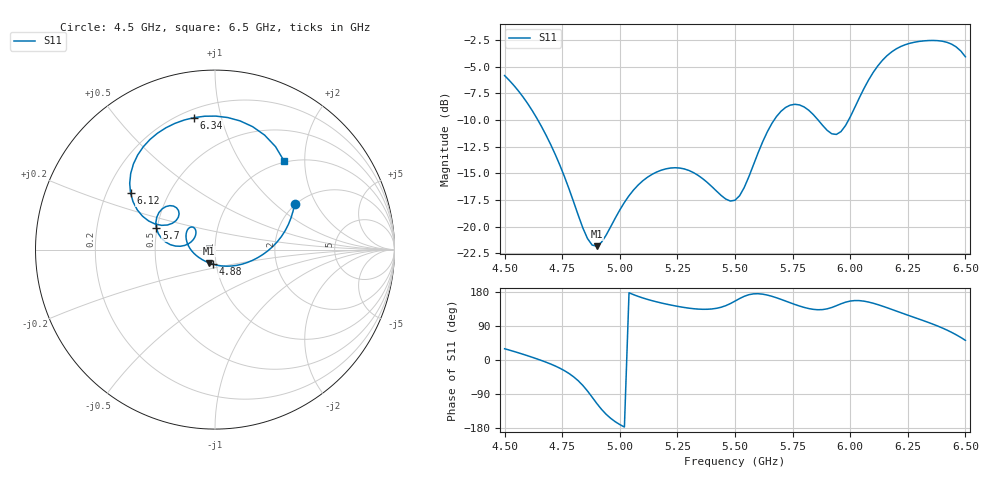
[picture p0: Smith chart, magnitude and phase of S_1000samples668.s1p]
! TOUCHSTONE file generated by CST MICROWAVE STUDIO
! Date and time: Fri Oct 28 23:25:11 2022
! Project name: L.cst
! Parameters = {Di=1.27; Epsilon_r=1.56; InnerDiameter=1.27; Length=2; Lf=10; Lg=60; OuterConductorThickness=0.2921; OuterDiameter=3.6; Wf=3; Wp=41.2; de=1.5; df=6.8; g=0.8; gx=1.52042; gy=0.70093; h=2.34; hf=1.524; px=12.563; py=9.42204; w=9.7; wx=11.0425; wy=8.72111}
! Header version: 2018
! Port assignment regex: !\s*Touchstone port\s*([0-9]+)\s*=\s*(CST MWS port|CST DS port)\s*([0-9]+|Zmin|Zmax)\s*\(\"(.*)\"\)(\s*mode\s*([0-9]+))?.*
! Touchstone port assignment:
! Touchstone port 1 = CST MWS port 1 ("")
# GHz S DB R 50
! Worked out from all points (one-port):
!   101 points, 4.5 GHz to 6.5 GHz, reference 50 ohm
!   lowest |S11| = -21.8 dB at 4.9 GHz (marker M1), VSWR 1.18, Z = 46.3 - j6.87 ohm
!   |S11| at or under -10 dB: 4.644 GHz to 5.67 GHz (1.026 GHz wide, 19.9 % of centre); 5.861 GHz to 5.993 GHz (132.5 MHz wide, 2.24 % of centre)
!   S11 on the Smith chart (normalised r, x): 4.5 GHz: 1.98, +1.35; 4.88 GHz: 0.96, -0.16; 5.7 GHz: 0.50, +0.13; 6.12 GHz: 0.30, +0.28; 6.34 GHz: 0.25, +0.82; 6.5 GHz: 0.98, +1.59
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4.5  -5.84 29.7
4.64  -9.84 3.0
4.76  -15.32 -28.3
4.84  -20.13 -67.5
4.88  -21.72 -98.1
4.9  -21.82 -114.5
5  -18.43 -170.4
5.12  -15.37 160.0
5.26  -14.50 140.6
5.38  -15.86 133.9
5.46  -17.41 143.4
5.5  -17.52 155.4
5.54  -16.33 168.1
5.6  -13.09 174.9
5.7  -9.18 160.0
5.76  -8.53 146.5
5.82  -9.09 135.8
5.9  -10.97 135.0
5.94  -11.36 143.3
6  -9.72 155.5
6.06  -7.04 155.3
6.12  -4.93 146.1
6.18  -3.62 133.6
6.26  -2.81 116.2
6.34  -2.56 98.9
6.42  -2.73 79.0
6.46  -3.16 66.6
6.5  -4.08 51.9
